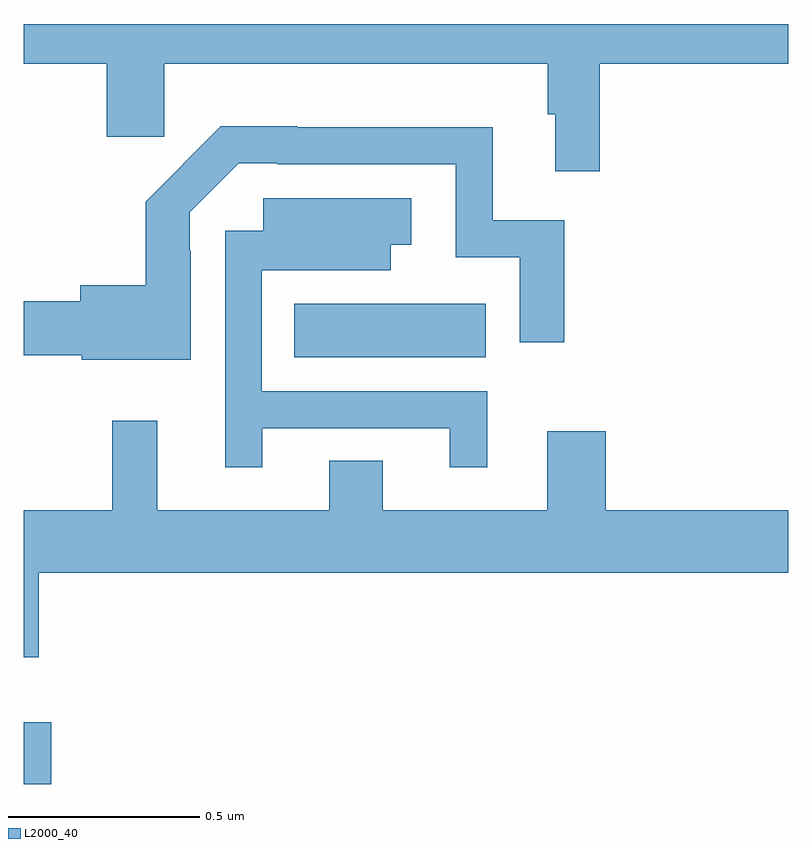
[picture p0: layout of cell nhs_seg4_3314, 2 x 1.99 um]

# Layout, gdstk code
import gdstk
lib = gdstk.Library(unit=1e-6, precision=1e-09)
def R(c, l, rs):  # rectangles x0, y0, x1, y1
    for r in rs: c.add(gdstk.rectangle(r[:2], r[2:], *l))
def P(c, l, *ps):  # polygons
    for p in ps: c.add(gdstk.Polygon(p, *l))
L2000_40 = (2000, 40)

nhs_seg4_3314 = lib.new_cell('nhs_seg4_3314')
R(nhs_seg4_3314, L2000_40, [(151,818.912,151.072,819.073), (151.708,820.028,152.209,820.168)])
P(nhs_seg4_3314, L2000_40, [(152.507,820.796),(153,820.796),(153,820.9),(151,820.9),(151,820.796),(151.217,820.796),(151.217,820.605),(151.367,820.605),(151.367,820.796),(152.371,820.796),(152.371,820.664),(152.39,820.664),(152.39,820.515),(152.507,820.515)],
  [(151.437,820.307),(151.434,820.307),(151.434,820.407),(151.563,820.536),(151.663,820.536),(151.663,820.533),(152.13,820.533),(152.13,820.29),(152.298,820.29),(152.298,820.068),(152.414,820.068),(152.414,820.386),(152.227,820.386),(152.227,820.63),(151.715,820.63),(151.715,820.633),(151.516,820.633),(151.319,820.435),(151.319,820.216),(151.148,820.216),(151.148,820.175),(151,820.175),(151,820.033),(151.152,820.033),(151.152,820.022),(151.437,820.022)],
  [(151.624,819.843),(152.114,819.843),(152.114,819.741),(152.212,819.741),(152.212,819.939),(151.623,819.939),(151.623,820.256),(151.96,820.256),(151.96,820.322),(152.014,820.322),(152.014,820.444),(151.626,820.444),(151.626,820.359),(151.527,820.359),(151.527,819.741),(151.624,819.741)],
  [(151.039,819.464),(153,819.464),(153,819.628),(152.522,819.628),(152.522,819.835),(152.369,819.835),(152.369,819.628),(151.939,819.628),(151.939,819.758),(151.799,819.758),(151.799,819.628),(151.349,819.628),(151.349,819.862),(151.231,819.862),(151.231,819.628),(151,819.628),(151,819.243),(151.039,819.243)])

lib.write_gds('nhs_seg4_3314.gds')
